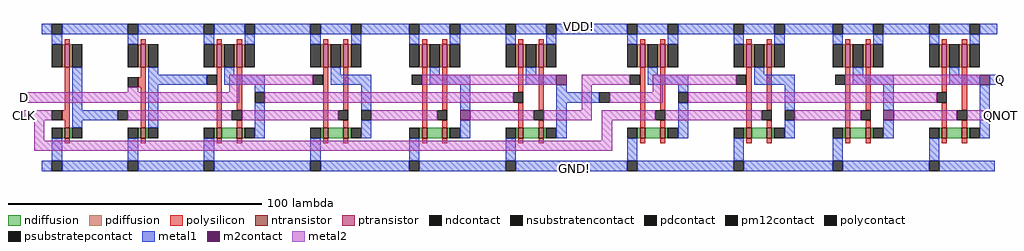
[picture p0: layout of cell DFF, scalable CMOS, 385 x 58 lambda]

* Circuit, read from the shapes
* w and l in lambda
.subckt DFF CLK D GND! Q QNOT VDD!
M1 n1 CLK GND! GND! nfet w=4 l=2
M2 n2 D GND! GND! nfet w=4 l=2
M3 n3 n2 GND! GND! nfet w=4 l=2
M4 n4 n1 n3 GND! nfet w=4 l=2
M5 n5 D GND! GND! nfet w=4 l=2
M6 n6 n1 n5 GND! nfet w=4 l=2
M7 n7 n8 GND! GND! nfet w=4 l=2
M8 n9 n6 n7 GND! nfet w=4 l=2
M9 n10 n4 GND! GND! nfet w=4 l=2
M10 n8 n9 n10 GND! nfet w=4 l=2
M11 n11 n9 GND! GND! nfet w=4 l=2
M12 n12 CLK n11 GND! nfet w=4 l=2
M13 n13 n8 GND! GND! nfet w=4 l=2
M14 n14 CLK n13 GND! nfet w=4 l=2
M15 n15 Q GND! GND! nfet w=4 l=2
M16 QNOT n14 n15 GND! nfet w=4 l=2
M17 n16 n12 GND! GND! nfet w=4 l=2
M18 Q QNOT n16 GND! nfet w=4 l=2
M19 n1 CLK VDD! VDD! pfet w=9 l=2
M20 n2 D VDD! VDD! pfet w=9 l=2
M21 n4 n2 VDD! VDD! pfet w=9 l=2
M22 VDD! n1 n4 VDD! pfet w=9 l=2
M23 n6 D VDD! VDD! pfet w=9 l=2
M24 VDD! n1 n6 VDD! pfet w=9 l=2
M25 n9 n8 VDD! VDD! pfet w=9 l=2
M26 VDD! n6 n9 VDD! pfet w=9 l=2
M27 n8 n4 VDD! VDD! pfet w=9 l=2
M28 VDD! n9 n8 VDD! pfet w=9 l=2
M29 n12 n9 VDD! VDD! pfet w=9 l=2
M30 VDD! CLK n12 VDD! pfet w=9 l=2
M31 n14 n8 VDD! VDD! pfet w=9 l=2
M32 VDD! CLK n14 VDD! pfet w=9 l=2
M33 QNOT Q VDD! VDD! pfet w=9 l=2
M34 VDD! n14 QNOT VDD! pfet w=9 l=2
M35 Q n12 VDD! VDD! pfet w=9 l=2
M36 VDD! QNOT Q VDD! pfet w=9 l=2
.ends

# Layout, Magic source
magic
tech scmos
<< ntransistor >>
rect -121 -21 -119 -17
rect -91 -21 -89 -17
rect -61 -21 -59 -17
rect -53 -21 -51 -17
rect -19 -21 -17 -17
rect -11 -21 -9 -17
rect 20 -21 22 -17
rect 28 -21 30 -17
rect 58 -21 60 -17
rect 66 -21 68 -17
rect 106 -21 108 -17
rect 114 -21 116 -17
rect 148 -21 150 -17
rect 156 -21 158 -17
rect 187 -21 189 -17
rect 195 -21 197 -17
rect 225 -21 227 -17
rect 233 -21 235 -17
<< ptransistor >>
rect -121 7 -119 16
rect -91 7 -89 16
rect -61 7 -59 16
rect -53 7 -51 16
rect -19 7 -17 16
rect -11 7 -9 16
rect 20 7 22 16
rect 28 7 30 16
rect 58 7 60 16
rect 66 7 68 16
rect 106 7 108 16
rect 114 7 116 16
rect 148 7 150 16
rect 156 7 158 16
rect 187 7 189 16
rect 195 7 197 16
rect 225 7 227 16
rect 233 7 235 16
<< ndiffusion >>
rect -122 -21 -121 -17
rect -119 -21 -118 -17
rect -92 -21 -91 -17
rect -89 -21 -88 -17
rect -62 -21 -61 -17
rect -59 -21 -53 -17
rect -51 -21 -50 -17
rect -20 -21 -19 -17
rect -17 -21 -11 -17
rect -9 -21 -8 -17
rect 19 -21 20 -17
rect 22 -21 28 -17
rect 30 -21 31 -17
rect 57 -21 58 -17
rect 60 -21 66 -17
rect 68 -21 69 -17
rect 105 -21 106 -17
rect 108 -21 114 -17
rect 116 -21 117 -17
rect 147 -21 148 -17
rect 150 -21 156 -17
rect 158 -21 159 -17
rect 186 -21 187 -17
rect 189 -21 195 -17
rect 197 -21 198 -17
rect 224 -21 225 -17
rect 227 -21 233 -17
rect 235 -21 236 -17
<< pdiffusion >>
rect -122 7 -121 16
rect -119 7 -118 16
rect -92 7 -91 16
rect -89 7 -88 16
rect -62 7 -61 16
rect -59 7 -58 16
rect -54 7 -53 16
rect -51 7 -50 16
rect -20 7 -19 16
rect -17 7 -16 16
rect -12 7 -11 16
rect -9 7 -8 16
rect 19 7 20 16
rect 22 7 23 16
rect 27 7 28 16
rect 30 7 31 16
rect 57 7 58 16
rect 60 7 61 16
rect 65 7 66 16
rect 68 7 69 16
rect 105 7 106 16
rect 108 7 109 16
rect 113 7 114 16
rect 116 7 117 16
rect 147 7 148 16
rect 150 7 151 16
rect 155 7 156 16
rect 158 7 159 16
rect 186 7 187 16
rect 189 7 190 16
rect 194 7 195 16
rect 197 7 198 16
rect 224 7 225 16
rect 227 7 228 16
rect 232 7 233 16
rect 235 7 236 16
<< ndcontact >>
rect -126 -21 -122 -17
rect -118 -21 -114 -17
rect -96 -21 -92 -17
rect -88 -21 -84 -17
rect -66 -21 -62 -17
rect -50 -21 -46 -17
rect -24 -21 -20 -17
rect -8 -21 -4 -17
rect 15 -21 19 -17
rect 31 -21 35 -17
rect 53 -21 57 -17
rect 69 -21 73 -17
rect 101 -21 105 -17
rect 117 -21 121 -17
rect 143 -21 147 -17
rect 159 -21 163 -17
rect 182 -21 186 -17
rect 198 -21 202 -17
rect 220 -21 224 -17
rect 236 -21 240 -17
<< pdcontact >>
rect -126 7 -122 16
rect -118 7 -114 16
rect -96 7 -92 16
rect -88 7 -84 16
rect -66 7 -62 16
rect -58 7 -54 16
rect -50 7 -46 16
rect -24 7 -20 16
rect -16 7 -12 16
rect -8 7 -4 16
rect 15 7 19 16
rect 23 7 27 16
rect 31 7 35 16
rect 53 7 57 16
rect 61 7 65 16
rect 69 7 73 16
rect 101 7 105 16
rect 109 7 113 16
rect 117 7 121 16
rect 143 7 147 16
rect 151 7 155 16
rect 159 7 163 16
rect 182 7 186 16
rect 190 7 194 16
rect 198 7 202 16
rect 220 7 224 16
rect 228 7 232 16
rect 236 7 240 16
<< psubstratepcontact >>
rect -126 -34 -122 -30
rect -96 -34 -92 -30
rect -66 -34 -62 -30
rect -24 -34 -20 -30
rect 15 -34 19 -30
rect 53 -34 57 -30
rect 101 -34 105 -30
rect 143 -34 147 -30
rect 182 -34 186 -30
rect 220 -34 224 -30
<< nsubstratencontact >>
rect -126 20 -122 24
rect -96 20 -92 24
rect -66 20 -62 24
rect -50 20 -46 24
rect -24 20 -20 24
rect -8 20 -4 24
rect 15 20 19 24
rect 31 20 35 24
rect 53 20 57 24
rect 69 20 73 24
rect 101 20 105 24
rect 117 20 121 24
rect 143 20 147 24
rect 159 20 163 24
rect 182 20 186 24
rect 198 20 202 24
rect 220 20 224 24
rect 236 20 240 24
<< polysilicon >>
rect -121 16 -119 18
rect -91 16 -89 18
rect -61 16 -59 18
rect -53 16 -51 18
rect -19 16 -17 18
rect -11 16 -9 18
rect 20 16 22 18
rect 28 16 30 18
rect 58 16 60 18
rect 66 16 68 18
rect 106 16 108 18
rect 114 16 116 18
rect 148 16 150 18
rect 156 16 158 18
rect 187 16 189 18
rect 195 16 197 18
rect 225 16 227 18
rect 233 16 235 18
rect -121 -10 -119 7
rect -91 3 -89 7
rect -92 -1 -89 3
rect -122 -14 -119 -10
rect -121 -17 -119 -14
rect -91 -17 -89 -1
rect -61 -17 -59 7
rect -53 -10 -51 7
rect -53 -17 -51 -14
rect -19 -17 -17 7
rect -11 -10 -9 7
rect -11 -17 -9 -14
rect 20 -17 22 7
rect 28 -10 30 7
rect 58 -3 60 7
rect 28 -17 30 -14
rect 58 -17 60 -7
rect 66 -10 68 7
rect 66 -17 68 -14
rect 106 -17 108 7
rect 114 -10 116 7
rect 114 -17 116 -14
rect 148 -17 150 7
rect 156 -10 158 7
rect 156 -17 158 -14
rect 187 -17 189 7
rect 195 -10 197 7
rect 225 -3 227 7
rect 195 -17 197 -14
rect 225 -17 227 -7
rect 233 -10 235 7
rect 233 -17 235 -14
rect -121 -23 -119 -21
rect -91 -23 -89 -21
rect -61 -23 -59 -21
rect -53 -23 -51 -21
rect -19 -23 -17 -21
rect -11 -23 -9 -21
rect 20 -23 22 -21
rect 28 -23 30 -21
rect 58 -23 60 -21
rect 66 -23 68 -21
rect 106 -23 108 -21
rect 114 -23 116 -21
rect 148 -23 150 -21
rect 156 -23 158 -21
rect 187 -23 189 -21
rect 195 -23 197 -21
rect 225 -23 227 -21
rect 233 -23 235 -21
<< polycontact >>
rect -65 0 -61 4
<< metal1 >>
rect -130 20 -126 24
rect -122 20 -96 24
rect -92 20 -66 24
rect -62 20 -50 24
rect -46 20 -24 24
rect -20 20 -8 24
rect -4 20 15 24
rect 19 20 31 24
rect 35 20 53 24
rect 57 20 69 24
rect 73 20 101 24
rect 105 20 117 24
rect 121 20 143 24
rect 147 20 159 24
rect 163 20 182 24
rect 186 20 198 24
rect 202 20 220 24
rect 224 20 236 24
rect 240 20 247 24
rect -126 16 -122 20
rect -96 16 -92 20
rect -66 16 -62 20
rect -50 16 -46 20
rect -24 16 -20 20
rect -8 16 -4 20
rect 15 16 19 20
rect 31 16 35 20
rect 53 16 57 20
rect 69 16 73 20
rect 101 16 105 20
rect 117 16 121 20
rect 143 16 147 20
rect 159 16 163 20
rect 182 16 186 20
rect 198 16 202 20
rect 220 16 224 20
rect 236 16 240 20
rect -118 -10 -114 7
rect -88 4 -84 7
rect -58 4 -54 7
rect -16 4 -12 7
rect 23 4 27 7
rect 61 4 65 7
rect 109 4 113 7
rect 151 4 155 7
rect 190 4 194 7
rect 228 4 232 7
rect -88 0 -65 4
rect -58 0 -42 4
rect -16 0 0 4
rect 23 0 39 4
rect 61 0 73 4
rect 109 0 125 4
rect 151 0 167 4
rect 190 0 206 4
rect 228 0 240 4
rect 244 0 248 4
rect -118 -14 -100 -10
rect -118 -17 -114 -14
rect -88 -17 -84 0
rect -46 -3 -42 0
rect -46 -21 -42 -7
rect -4 -10 0 0
rect 35 -10 39 0
rect 73 -3 77 0
rect 121 -3 125 0
rect 73 -7 90 -3
rect -4 -21 0 -14
rect 35 -21 39 -14
rect 73 -21 77 -7
rect 121 -21 125 -7
rect 163 -10 167 0
rect 202 -10 206 0
rect 163 -21 167 -14
rect 202 -21 206 -14
rect 240 -21 244 0
rect -126 -30 -122 -21
rect -96 -30 -92 -21
rect -66 -30 -62 -21
rect -24 -30 -20 -21
rect 15 -30 19 -21
rect 53 -30 57 -21
rect 101 -30 105 -21
rect 143 -30 147 -21
rect 182 -30 186 -21
rect 220 -30 224 -21
rect -130 -34 -126 -30
rect -122 -34 -96 -30
rect -92 -34 -66 -30
rect -62 -34 -24 -30
rect -20 -34 15 -30
rect 19 -34 53 -30
rect 57 -34 101 -30
rect 105 -34 143 -30
rect 147 -34 182 -30
rect 186 -34 220 -30
rect 224 -34 246 -30
<< m2contact >>
rect 73 0 77 4
rect 240 0 244 4
rect 35 -14 39 -10
rect 202 -14 206 -10
<< pm12contact >>
rect -96 -1 -92 3
rect -23 0 -19 4
rect 16 0 20 4
rect 102 0 106 4
rect 144 0 148 4
rect 183 0 187 4
rect -126 -14 -122 -10
rect -100 -14 -96 -10
rect -46 -7 -42 -3
rect -55 -14 -51 -10
rect 56 -7 60 -3
rect 90 -7 94 -3
rect 121 -7 125 -3
rect -13 -14 -9 -10
rect -4 -14 0 -10
rect 26 -14 30 -10
rect 64 -14 68 -10
rect 112 -14 116 -10
rect 223 -7 227 -3
rect 154 -14 158 -10
rect 163 -14 167 -10
rect 193 -14 197 -10
rect 231 -14 235 -10
<< metal2 >>
rect -96 -3 -92 -1
rect -56 0 -23 4
rect 20 0 73 4
rect 83 0 102 4
rect 111 0 144 4
rect 187 0 240 4
rect -56 -3 -52 0
rect -137 -7 -52 -3
rect -42 -7 56 -3
rect 83 -10 87 0
rect 111 -3 115 0
rect 94 -7 115 -3
rect 125 -7 223 -3
rect -137 -14 -126 -10
rect -96 -14 -55 -10
rect -51 -14 -13 -10
rect 0 -14 26 -10
rect 39 -14 64 -10
rect 68 -14 87 -10
rect 91 -14 112 -10
rect 116 -14 154 -10
rect 167 -14 193 -10
rect 206 -14 231 -10
rect 235 -14 248 -10
rect -133 -22 -129 -14
rect 91 -22 95 -14
rect -133 -26 95 -22
<< labels >>
rlabel metal2 -137 -7 -137 -3 3 D
rlabel metal2 -137 -14 -137 -10 3 CLK
rlabel metal2 248 -14 248 -10 7 QNOT
rlabel metal1 248 0 248 4 7 Q
rlabel metal1 80 -33 80 -33 1 GND!
rlabel metal1 82 23 82 23 5 VDD!
<< end >>
